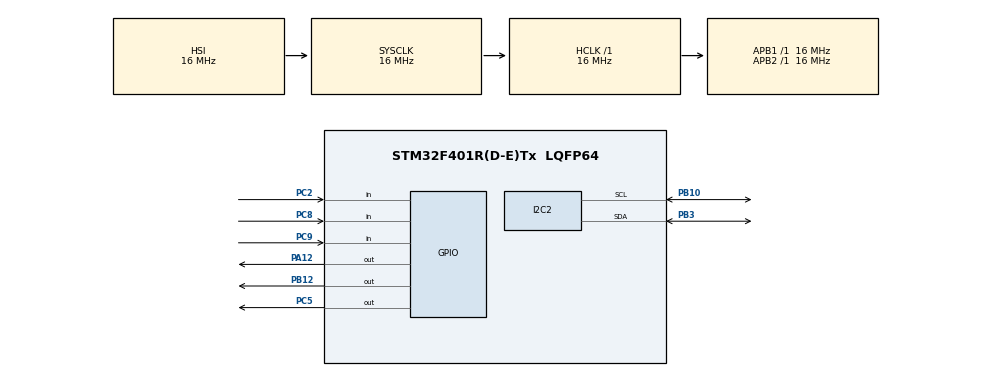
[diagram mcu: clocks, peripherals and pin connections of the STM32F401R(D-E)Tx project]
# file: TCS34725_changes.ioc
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Mcu.Family=STM32F4
Mcu.Name=STM32F401R(D-E)Tx
Mcu.Package=LQFP64
NVIC.PriorityGroup=NVIC_PRIORITYGROUP_4
PA12.Signal=GPIO_Output
PB10.Mode=I2C
PB10.Signal=I2C2_SCL
PB12.Signal=GPIO_Output
PB3.Mode=I2C
PB3.Signal=I2C2_SDA
PC2.GPIO_PuPd=GPIO_PULLDOWN
PC2.Signal=GPIO_Input
PC5.Signal=GPIO_Output
PC8.GPIO_PuPd=GPIO_PULLDOWN
PC8.Signal=GPIO_Input
PC9.GPIO_PuPd=GPIO_PULLDOWN
PC9.Signal=GPIO_Input
ProjectManager.HeapSize=0x200
ProjectManager.StackSize=0x400
ProjectManager.TargetToolchain=STM32CubeIDE
RCC.AHBFreq_Value=16000000
RCC.APB1Freq_Value=16000000
RCC.APB2Freq_Value=16000000
RCC.CortexFreq_Value=16000000
RCC.HSE_VALUE=25000000
RCC.HSI_VALUE=16000000
RCC.LSE_VALUE=32768
RCC.SYSCLKFreq_VALUE=16000000
RCC.VCOOutputFreq_Value=192000000
board=custom

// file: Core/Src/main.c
/* USER CODE BEGIN Header */
	/**
	  ******************************************************************************
	  * @file           : main.c
	  * @brief          : ARC 2026 - Direct Button Logic (No Timers) | LED PB8
	  ******************************************************************************
	  */
/* USER CODE END Header */
#include "main.h"

/* USER CODE BEGIN Includes */
	#include <math.h>
	#include "generated_layouts.h"
/* USER CODE END Includes */

/* USER CODE BEGIN PD */
	// I2C Address
	#define TCS34725_ADDR        (0x29 << 1)

	// Command bit
	#define TCS34725_COMMAND_BIT 0x80
	#define TCS34725_AUTO_INC    0x20

	// Registers
	#define TCS34725_ENABLE      0x00
	#define TCS34725_ATIME       0x01
	#define TCS34725_CONTROL     0x0F

	// RGBC data registers
	#define TCS34725_CDATAL      0x14
	#define TCS34725_RDATAL      0x16
	#define TCS34725_GDATAL      0x18
	#define TCS34725_BDATAL      0x1A

	#define SAMPLES  15
	#define MAX_COLORS 8

	#define COLOR_NONE   -1

	int colorArray[MAX_COLORS];
	int index_ptr = 0;
	int layout_id = -1;

	int search_triggered = 0;

	float r_mult = 1.0f, g_mult = 1.0f, b_mult = 1.0f;

	// Tune these
	float refRed[3]    = {120, 70, 65};
	float refGreen[3]  = {65, 102, 86};
	float refBlue[3]   = {60, 75, 120};
	float refYellow[3] = {104, 91, 60};

	struct {
		float R_val;
		float G_val;
		float B_val;
		int detected_id;
	} debug;

	struct {
		float R;
		float G;
		float B;
	} debug_notnormalized;

/* USER CODE END PD */

I2C_HandleTypeDef hi2c2;

void SystemClock_Config(void);
static void MX_GPIO_Init(void);
static void MX_I2C2_Init(void);
/* USER CODE BEGIN PFP */
	float calculate_distance(float current[3], float target[3]);
	void write8(uint8_t reg, uint8_t value);
	uint16_t read16(uint8_t reg);
	void run_calibration(void);
	int get_color_id(void);
	void leds_off();
	void leds_on();
	void show_color(int color);
	void blink_success();
	void blink_error();
	void wait_all_buttons_release();
	int get_layout_id(int scanned_colors[], int length);
/* USER CODE END PFP */

int main(void)
{

  /* MCU Configuration--------------------------------------------------------*/

  /* Reset of all peripherals, Initializes the Flash interface and the Systick. */
  HAL_Init();

  /* Configure the system clock */
  SystemClock_Config();

  /* Initialize all configured peripherals */
  MX_GPIO_Init();
  MX_I2C2_Init();
  /* USER CODE BEGIN 2 */
	  write8(TCS34725_ATIME, 0xEB);
	  write8(TCS34725_CONTROL, 0x01);

	  write8(TCS34725_ENABLE, 0x01);
	  HAL_Delay(3);
	  write8(TCS34725_ENABLE, 0x03);
	  HAL_Delay(100);

  /* USER CODE END 2 */

  /* Infinite loop */
  /* USER CODE BEGIN WHILE */
	  while (1)

	  {
		  int c8 = HAL_GPIO_ReadPin(GPIOC, GPIO_PIN_8);
		  int c9 = HAL_GPIO_ReadPin(GPIOC, GPIO_PIN_9);

		  // CALIBRATION

		  if (c8 && c9) {
			  HAL_Delay(2000);

			  if (HAL_GPIO_ReadPin(GPIOC, GPIO_PIN_8) &&
					  HAL_GPIO_ReadPin(GPIOC, GPIO_PIN_9)) {

				  run_calibration();
				  blink_success();

				  wait_all_buttons_release();
			  }
		  }

		  // STORE
		  else if (c8) {
			  HAL_Delay(50); // Debounce
			  if (HAL_GPIO_ReadPin(GPIOC, GPIO_PIN_8)) {
				  if (index_ptr < MAX_COLORS) {
					  int result = get_color_id();
					  if (result != COLOR_NONE) {
						  colorArray[index_ptr++] = result;
						  show_color(result);
						  blink_success();
					  } else {
						  blink_error();
					  }
				  } else {
					  blink_error();
				  }
				  wait_all_buttons_release();
			  }
		  }

		  // UNDO
		  else if (c9) {
			  HAL_Delay(50); // debounce
			  if (HAL_GPIO_ReadPin(GPIOC, GPIO_PIN_9)) {
				  if (index_ptr > 0) {
					  index_ptr--;
					  blink_success(); // blink
					  leds_off(); // then turn off
				  } else {
					  blink_error();
					  leds_off();
				  }
				  wait_all_buttons_release();
			  }
		  }

		  HAL_Delay(50);

		  if (HAL_GPIO_ReadPin(GPIOC, GPIO_PIN_2) == GPIO_PIN_SET) {
			  if (search_triggered == 0) {

				  if (index_ptr == 8) {
					  layout_id = get_layout_id(colorArray, index_ptr);

					  if (layout_id != -1) {
						  leds_on();
					  } else {
						  HAL_GPIO_WritePin(GPIOB, GPIO_PIN_12, GPIO_PIN_SET);
					  }
				  } else {
					  HAL_GPIO_WritePin(GPIOB, GPIO_PIN_12, GPIO_PIN_SET);
				  }

				  search_triggered = 1;
			  }
		  } else {
			  search_triggered = 0;
		  }
		  /* USER CODE BEGIN 3 */

		  /* USER CODE END 3 */
	  }
    /* USER CODE END WHILE */

}

void SystemClock_Config(void)
{
  RCC_OscInitTypeDef RCC_OscInitStruct = {0};
  RCC_ClkInitTypeDef RCC_ClkInitStruct = {0};

  /** Configure the main internal regulator output voltage
  */
  __HAL_RCC_PWR_CLK_ENABLE();
  __HAL_PWR_VOLTAGESCALING_CONFIG(PWR_REGULATOR_VOLTAGE_SCALE2);

  /** Initializes the RCC Oscillators according to the specified parameters
  * in the RCC_OscInitTypeDef structure.
  */
  RCC_OscInitStruct.OscillatorType = RCC_OSCILLATORTYPE_HSI;
  RCC_OscInitStruct.HSIState = RCC_HSI_ON;
  RCC_OscInitStruct.HSICalibrationValue = RCC_HSICALIBRATION_DEFAULT;
  RCC_OscInitStruct.PLL.PLLState = RCC_PLL_NONE;
  if (HAL_RCC_OscConfig(&RCC_OscInitStruct) != HAL_OK)
  {
    Error_Handler();
  }

  /** Initializes the CPU, AHB and APB buses clocks
  */
  RCC_ClkInitStruct.ClockType = RCC_CLOCKTYPE_HCLK|RCC_CLOCKTYPE_SYSCLK
                              |RCC_CLOCKTYPE_PCLK1|RCC_CLOCKTYPE_PCLK2;
  RCC_ClkInitStruct.SYSCLKSource = RCC_SYSCLKSOURCE_HSI;
  RCC_ClkInitStruct.AHBCLKDivider = RCC_SYSCLK_DIV1;
  RCC_ClkInitStruct.APB1CLKDivider = RCC_HCLK_DIV1;
  RCC_ClkInitStruct.APB2CLKDivider = RCC_HCLK_DIV1;

  if (HAL_RCC_ClockConfig(&RCC_ClkInitStruct, FLASH_LATENCY_0) != HAL_OK)
  {
    Error_Handler();
  }
}

static void MX_I2C2_Init(void)
{

  hi2c2.Instance = I2C2;
  hi2c2.Init.ClockSpeed = 100000;
  hi2c2.Init.DutyCycle = I2C_DUTYCYCLE_2;
  hi2c2.Init.OwnAddress1 = 0;
  hi2c2.Init.AddressingMode = I2C_ADDRESSINGMODE_7BIT;
  hi2c2.Init.DualAddressMode = I2C_DUALADDRESS_DISABLE;
  hi2c2.Init.OwnAddress2 = 0;
  hi2c2.Init.GeneralCallMode = I2C_GENERALCALL_DISABLE;
  hi2c2.Init.NoStretchMode = I2C_NOSTRETCH_DISABLE;
  if (HAL_I2C_Init(&hi2c2) != HAL_OK)
  {
    Error_Handler();
  }

}

static void MX_GPIO_Init(void)
{
  GPIO_InitTypeDef GPIO_InitStruct = {0};

  /* GPIO Ports Clock Enable */
  __HAL_RCC_GPIOC_CLK_ENABLE();
  __HAL_RCC_GPIOB_CLK_ENABLE();
  __HAL_RCC_GPIOA_CLK_ENABLE();

  /*Configure GPIO pin Output Level */
  HAL_GPIO_WritePin(GPIOC, GPIO_PIN_5, GPIO_PIN_RESET);

  /*Configure GPIO pin Output Level */
  HAL_GPIO_WritePin(GPIOB, GPIO_PIN_12, GPIO_PIN_RESET);

  /*Configure GPIO pin Output Level */
  HAL_GPIO_WritePin(GPIOA, GPIO_PIN_12, GPIO_PIN_RESET);

  /*Configure GPIO pins : PC2 PC8 PC9 */
  GPIO_InitStruct.Pin = GPIO_PIN_2|GPIO_PIN_8|GPIO_PIN_9;
  GPIO_InitStruct.Mode = GPIO_MODE_INPUT;
  GPIO_InitStruct.Pull = GPIO_PULLDOWN;
  HAL_GPIO_Init(GPIOC, &GPIO_InitStruct);

  /*Configure GPIO pin : PC5 */
  GPIO_InitStruct.Pin = GPIO_PIN_5;
  GPIO_InitStruct.Mode = GPIO_MODE_OUTPUT_PP;
  GPIO_InitStruct.Pull = GPIO_NOPULL;
  GPIO_InitStruct.Speed = GPIO_SPEED_FREQ_LOW;
  HAL_GPIO_Init(GPIOC, &GPIO_InitStruct);

  /*Configure GPIO pin : PB12 */
  GPIO_InitStruct.Pin = GPIO_PIN_12;
  GPIO_InitStruct.Mode = GPIO_MODE_OUTPUT_PP;
  GPIO_InitStruct.Pull = GPIO_NOPULL;
  GPIO_InitStruct.Speed = GPIO_SPEED_FREQ_LOW;
  HAL_GPIO_Init(GPIOB, &GPIO_InitStruct);

  /*Configure GPIO pin : PA12 */
  GPIO_InitStruct.Pin = GPIO_PIN_12;
  GPIO_InitStruct.Mode = GPIO_MODE_OUTPUT_PP;
  GPIO_InitStruct.Pull = GPIO_NOPULL;
  GPIO_InitStruct.Speed = GPIO_SPEED_FREQ_LOW;
  HAL_GPIO_Init(GPIOA, &GPIO_InitStruct);

}

/* USER CODE BEGIN 4 */

	void wait_all_buttons_release() {
		while (HAL_GPIO_ReadPin(GPIOC, GPIO_PIN_8) ||
				HAL_GPIO_ReadPin(GPIOC, GPIO_PIN_9)) {
			HAL_Delay(10);
		}
	}

	void leds_off() {
		HAL_GPIO_WritePin(GPIOC, GPIO_PIN_5, GPIO_PIN_RESET);
	    HAL_GPIO_WritePin(GPIOB, GPIO_PIN_12, GPIO_PIN_RESET);
	    HAL_GPIO_WritePin(GPIOA, GPIO_PIN_12, GPIO_PIN_RESET);
	}

	void leds_on() {
		HAL_GPIO_WritePin(GPIOC, GPIO_PIN_5, GPIO_PIN_SET);
	    HAL_GPIO_WritePin(GPIOB, GPIO_PIN_12, GPIO_PIN_SET);
	    HAL_GPIO_WritePin(GPIOA, GPIO_PIN_12, GPIO_PIN_SET);
	}

	void show_color(int color) {
	    leds_off();
	    switch(color) {
	        case COLOR_RED:
	            HAL_GPIO_WritePin(GPIOB, GPIO_PIN_12, GPIO_PIN_SET);
	            break;
	        case COLOR_YELLOW:
	            HAL_GPIO_WritePin(GPIOA, GPIO_PIN_12, GPIO_PIN_SET);
	            break;
	        case COLOR_GREEN:
	            HAL_GPIO_WritePin(GPIOC, GPIO_PIN_5, GPIO_PIN_SET);
	            break;
	        case COLOR_BLUE:
	    		HAL_GPIO_WritePin(GPIOC, GPIO_PIN_5, GPIO_PIN_SET);
	    	    HAL_GPIO_WritePin(GPIOB, GPIO_PIN_12, GPIO_PIN_SET);
	    	    HAL_GPIO_WritePin(GPIOA, GPIO_PIN_12, GPIO_PIN_SET);
	            break;
	    }
	}

	void blink_success() {
		HAL_GPIO_TogglePin(GPIOC, GPIO_PIN_5);
	    HAL_GPIO_TogglePin(GPIOB, GPIO_PIN_12);
	    HAL_GPIO_TogglePin(GPIOA, GPIO_PIN_12);
		HAL_Delay(150);
		HAL_GPIO_TogglePin(GPIOC, GPIO_PIN_5);
	    HAL_GPIO_TogglePin(GPIOB, GPIO_PIN_12);
	    HAL_GPIO_TogglePin(GPIOA, GPIO_PIN_12);
	}

	void blink_error() {
		for(int i=0;i<3;i++){
			HAL_GPIO_TogglePin(GPIOC, GPIO_PIN_5);
		    HAL_GPIO_TogglePin(GPIOB, GPIO_PIN_12);
		    HAL_GPIO_TogglePin(GPIOA, GPIO_PIN_12);
			HAL_Delay(100);
			HAL_GPIO_TogglePin(GPIOC, GPIO_PIN_5);
		    HAL_GPIO_TogglePin(GPIOB, GPIO_PIN_12);
		    HAL_GPIO_TogglePin(GPIOA, GPIO_PIN_12);
			HAL_Delay(100);
		}
	}

	void run_calibration(void) {
		uint32_t sR=0, sG=0, sB=0;

		for(int i=0;i<SAMPLES;i++){
			sR += read16(TCS34725_RDATAL);
			sG += read16(TCS34725_GDATAL);
			sB += read16(TCS34725_BDATAL);
			HAL_Delay(20);
		}

		float avgR = sR / (float)SAMPLES;
		float avgG = sG / (float)SAMPLES;
		float avgB = sB / (float)SAMPLES;

		float avg = (avgR + avgG + avgB) / 3.0f;

		if (avgR > 0 && avgG > 0 && avgB > 0) {
			r_mult = avg / avgR;
			g_mult = avg / avgG;
			b_mult = avg / avgB;
		}
	}

	float calculate_distance(float current[3], float target[3]) {
		float dr = current[0] - target[0];
		float dg = current[1] - target[1];
		float db = current[2] - target[2];

		return sqrtf(2*dr*dr + 4*dg*dg + 3*db*db);
	}

	int get_color_id(void) {
			uint32_t sC=0, sR=0, sG=0, sB=0;

			for(int i=0;i<SAMPLES;i++){
				sC += read16(TCS34725_CDATAL);
				sR += read16(TCS34725_RDATAL);
				sG += read16(TCS34725_GDATAL);
				sB += read16(TCS34725_BDATAL);
				HAL_Delay(10);
			}

			float avgC = sC / SAMPLES;

			if (avgC < 50) {
			        debug.detected_id = COLOR_NONE;
			        return COLOR_NONE;
			    }

			debug_notnormalized.R = sR / (float)SAMPLES;
			debug_notnormalized.G = sG / (float)SAMPLES;
			debug_notnormalized.B = sB / (float)SAMPLES;

			debug.R_val = debug_notnormalized.R * r_mult;
			debug.G_val = debug_notnormalized.G * g_mult;
			debug.B_val = debug_notnormalized.B * b_mult;

			float sum = debug.R_val + debug.G_val + debug.B_val;
			if (sum == 0) {
				debug.detected_id = COLOR_NONE;
				return COLOR_NONE;
			}

			debug.R_val = (debug.R_val / sum) * 255.0f;
			debug.G_val = (debug.G_val / sum) * 255.0f;
			debug.B_val = (debug.B_val / sum) * 255.0f;

			float cur[3] = {debug.R_val, debug.G_val, debug.B_val};

			float dRed    = calculate_distance(cur, refRed);
			float dGreen  = calculate_distance(cur, refGreen);
			float dYellow = calculate_distance(cur, refYellow);
			float dBlue   = calculate_distance(cur, refBlue);

			float minD = dRed;
			int id = COLOR_RED;

			if (dGreen < minD)    { minD = dGreen; id = COLOR_GREEN; }
			if (dYellow < minD) { minD = dYellow; id = COLOR_YELLOW; }
			if (dBlue < minD)   { minD = dBlue; id = COLOR_BLUE; }

			debug.detected_id = id;

			return id;
	}

	int get_layout_id(int scanned_colors[], int length) {
	    if (length < 8) return -1;

	    for (uint16_t i = 0; i < g_layout_count; i++) {
	        int mismatch = 0;
	        for (int branch = 0; branch < 4; branch++) {
	            if (g_layouts[i].slots[branch][0] != scanned_colors[branch * 2] ||
	                g_layouts[i].slots[branch][1] != scanned_colors[branch * 2 + 1]) {
	                mismatch = 1;
	                break;
	            }
	        }
	        if (!mismatch) return i;
	    }
	    return -1;
	}

	void write8(uint8_t reg, uint8_t value) {
		uint8_t tx[2] = {TCS34725_COMMAND_BIT | reg, value};
		HAL_I2C_Master_Transmit(&hi2c2, TCS34725_ADDR, tx, 2, 100);
	}

	uint16_t read16(uint8_t reg) {
		uint8_t buf[2];
		uint8_t cmd = TCS34725_COMMAND_BIT | TCS34725_AUTO_INC | reg;

		HAL_I2C_Master_Transmit(&hi2c2, TCS34725_ADDR, &cmd, 1, 100);
		HAL_I2C_Master_Receive(&hi2c2, TCS34725_ADDR, buf, 2, 100);

		return (buf[1] << 8) | buf[0];
	}
/* USER CODE END 4 */

void Error_Handler(void)
{
  __disable_irq();
  while (1)
  {
  }
}
